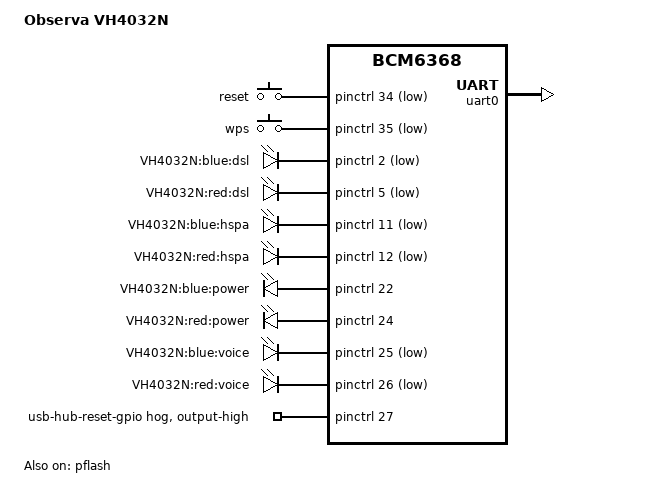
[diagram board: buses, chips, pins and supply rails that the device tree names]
/dts-v1/;

#include "bcm6368.dtsi"

#include <dt-bindings/input/input.h>

/ {
	model = "Observa VH4032N";
	compatible = "observa,vh4032n", "brcm,bcm6368";

	chosen {
		bootargs = "rootfstype=squashfs,jffs2 noinitrd console=ttyS0,115200";
		stdout-path = "serial0:115200n8";
	};

	gpio-keys-polled {
		compatible = "gpio-keys-polled";
		#address-cells = <1>;
		#size-cells = <0>;
		poll-interval = <20>;
		debounce-interval = <60>;

		reset {
			label = "reset";
			gpios = <&pinctrl 34 1>;
			linux,code = <KEY_RESTART>;
		};
		wps {
			label = "wps";
			gpios = <&pinctrl 35 1>;
			linux,code = <KEY_WPS_BUTTON>;
		};
	};

	gpio-leds {
		compatible = "gpio-leds";

		dsl_blue {
			label = "VH4032N:blue:dsl";
			gpios = <&pinctrl 2 1>;
		};
		dsl_red {
			label = "VH4032N:red:dsl";
			gpios = <&pinctrl 5 1>;
		};
		hspa_blue {
			label = "VH4032N:blue:hspa";
			gpios = <&pinctrl 11 1>;
		};
		hspa_red {
			label = "VH4032N:red:hspa";
			gpios = <&pinctrl 12 1>;
		};
		power_blue {
			label = "VH4032N:blue:power";
			gpios = <&pinctrl 22 0>;
		};
		power_red {
			label = "VH4032N:red:power";
			gpios = <&pinctrl 24 0>;
			default-state = "on";
		};
		voice_blue {
			label = "VH4032N:blue:voice";
			gpios = <&pinctrl 25 1>;
		};
		voice_red {
			label = "VH4032N:red:voice";
			gpios = <&pinctrl 26 1>;
		};
	};
};

&pinctrl {
	usb_hub_reset {
		gpio-hog;
		gpios = <27 0>;
		output-high;
		line-name = "usb-hub-reset-gpio";
	};
};

&pflash {
	status = "ok";

	linux,part-probe = "bcm63xxpart";

	partitions {
		compatible = "fixed-partitions";
		#address-cells = <1>;
		#size-cells = <1>;

		cfe@0 {
			label = "CFE";
			reg = <0x0000000 0x0020000>;
			read-only;
		};

		linux@20000 {
			label = "linux";
			reg = <0x0020000 0x1fc0000>;
			compatible = "brcm,bcm963xx-imagetag";
		};

		nvram@1fe0000 {
			label = "nvram";
			reg = <0x1fe0000 0x020000>;
		};
	};
};

&uart0 {
	status = "ok";
};
